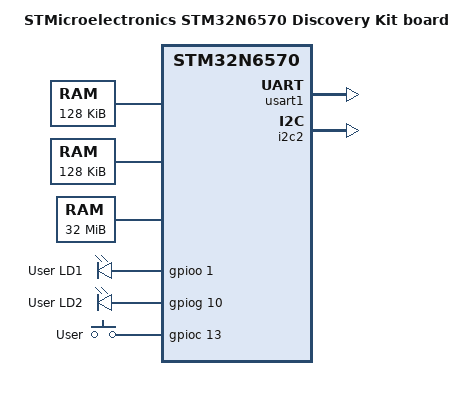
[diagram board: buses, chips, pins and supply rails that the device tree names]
// STM32N6570-DK Device Tree
// STM32N6570-DK 设备树
//
// 基于 Zephyr 的 stm32n6570_dk 设备树配置移植

/dts-v1/;

/ {
    model = "STMicroelectronics STM32N6570 Discovery Kit board";
    compatible = "st,stm32n6570-dk";

    // 内存定义
    axisram1: memory@38000000 {
        device_type = "memory";
        compatible = "mmio-sram";
        reg = <0x38000000 0x20000>;
    };

    axisram2: memory@38020000 {
        device_type = "memory";
        compatible = "mmio-sram";
        reg = <0x38020000 0x20000>;
    };

    psram: memory@90000000 {
        device_type = "memory";
        compatible = "zephyr,memory-region";
        reg = <0x90000000 DT_SIZE_M(32)>;
        zephyr,memory-region = "PSRAM";
    };

    ext_flash: flash@70000000 {
        compatible = "zephyr,memory-region";
        reg = <0x70000000 0x10000000>;
        zephyr,memory-region = "EXTFLASH";
    };

    // LED 设备节点定义
    leds {
        compatible = "gpio-leds";

        green_led_1: led_1 {
            compatible = "gpio-leds";
            gpios = <&gpioo 1 0>;
            label = "User LD1";
        };

        red_led_1: led_2 {
            compatible = "gpio-leds";
            gpios = <&gpiog 10 16>;
            label = "User LD2";
        };
    };

    // GPIO 按键节点定义
    gpio_keys {
        compatible = "gpio-keys";

        user_button: button {
            label = "User";
            gpios = <&gpioc 13 0>;
            zephyr,code = <0>;
        };
    };

    // SoC 节点定义
    soc {
        #address-cells = <1>;
        #size-cells = <1>;
        compatible = "st,stm32n6570";
        ranges;

        gpioa: gpio@50020000 {
            compatible = "st,stm32-gpio";
            reg = <0x50020000 0x400>;
            clocks = <&rcc 0>;
        };

        gpioc: gpio@50020400 {
            compatible = "st,stm32-gpio";
            reg = <0x50020400 0x400>;
            clocks = <&rcc 0>;
        };

        gpiog: gpio@50021000 {
            compatible = "st,stm32-gpio";
            reg = <0x50021000 0x400>;
            clocks = <&rcc 0>;
        };

        gpioo: gpio@50021800 {
            compatible = "st,stm32-gpio";
            reg = <0x50021800 0x400>;
            clocks = <&rcc 0>;
        };

        usart1: serial@4000e000 {
            compatible = "st,stm32-usart";
            reg = <0x4000e000 0x400>;
            interrupts = <36>;
            status = "okay";
        };

        i2c2: i2c@40015c00 {
            compatible = "st,stm32-i2c";
            reg = <0x40015c00 0x400>;
            interrupts = <50>;
            status = "okay";
        };

        fdcan1: fdcan@4000a000 {
            compatible = "st,stm32-fdcan";
            reg = <0x4000a000 0x3000>;
            interrupts = <19 20>;
            clocks = <&rcc 0>;
            status = "disabled";
        };

        usbotg_hs: usb@40000000 {
            compatible = "st,stm32-otghs";
            reg = <0x40000000 0x40000>;
            interrupts = <98 99>;
            clocks = <&rcc 0>;
            status = "disabled";
        };

        sdmmc1: sdmmc@480c4000 {
            compatible = "st,stm32-sdmmc";
            reg = <0x480c4000 0x1000>;
            interrupts = <49 50>;
            clocks = <&rcc 0>;
            status = "disabled";
        };

        ltdc: ltdc@5a010000 {
            compatible = "st,stm32-ltdc";
            reg = <0x5a010000 0x1000>;
            interrupts = <89>;
            clocks = <&rcc 0>;
            status = "disabled";
        };

        rcc: rcc@44000000 {
            compatible = "st,stm32n6-rcc";
            reg = <0x44000000 0x10000>;
            clocks = <&pll1>;
        };
    };

    aliases {
        led0 = &green_led_1;
        sw0 = &user_button;
        console = &usart1;
        serial0 = &usart1;
    };
};
